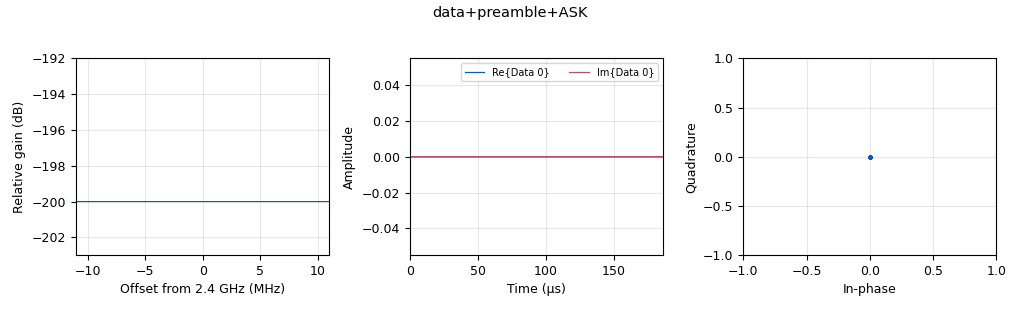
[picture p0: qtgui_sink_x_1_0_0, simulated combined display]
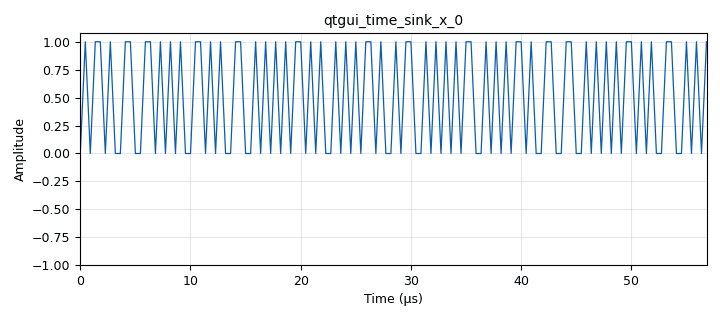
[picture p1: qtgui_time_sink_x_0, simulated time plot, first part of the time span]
options:
  parameters:
    author: User
    generate_options: qt_gui
    id: TX
    output_language: python
    title: Not titled yet
  states: {}

blocks:
- name: MC_data
  id: variable
  parameters:
    value: list(np.repeat(data,2))
  states: {}
- name: bandwidth
  id: variable
  parameters:
    value: '22000000'
  states: {}
- name: bits_per_clock
  id: variable
  parameters:
    value: '1'
  states: {}
- name: bits_per_pack
  id: variable
  parameters:
    value: '1'
  states: {}
- name: centerfreq
  id: variable
  parameters:
    value: '2400000000'
  states: {}
- name: clock
  id: variable
  parameters:
    value: '"010101"'
  states: {}
- name: data
  id: variable
  parameters:
    value: '[1,0,1,0]'
  states: {}
- name: decimation
  id: variable
  parameters:
    value: '1'
  states: {}
- name: filter_taps
  id: variable
  parameters:
    value: firdes.low_pass(1,samp_rate,samp_rate/(2*decimation), transition_bw)
  states: {}
- name: interval
  id: variable
  parameters:
    value: list(itertools.repeat(0, 20))
  states: {}
- name: packets
  id: variable
  parameters:
    value: '[1,0,1,0,1,1]'
  states: {}
- name: payload_size
  id: variable
  parameters:
    value: '160'
  states: {}
- name: periodicity
  id: variable
  parameters:
    value: len(MC_data)+len(preamble)
  states: {}
- name: preamble
  id: variable
  parameters:
    value: '[1,1,0,0,1,1]'
  states: {}
- name: samp_rate
  id: variable
  parameters:
    value: 22e5
  states: {}
- name: samp_rate_clock
  id: variable
  parameters:
    value: samp_rate*2
  states: {}
- name: sps
  id: variable_qtgui_range
  parameters:
    label: sample/symbol
    start: '1'
    step: '1'
    stop: '500'
    value: '100'
  states: {}
- name: symbol_rate
  id: variable
  parameters:
    value: '4000'
  states: {}
- name: tag_clock
  id: variable_tag_object
  parameters:
    key: pmt.intern("clock")
    offset: '0'
    src: pmt.intern("vecsrc")
    value: pmt.intern("0")
  states: {}
- name: tag_message
  id: variable_tag_object
  parameters:
    key: pmt.intern("t0")
    offset: '0'
    src: pmt.intern("vecsrc")
    value: pmt.intern("0")
  states: {}
- name: threshold
  id: variable_qtgui_range
  parameters:
    label: threshold
    start: '0.001'
    step: '0.001'
    stop: '1'
    value: '0.5'
  states: {}
- name: transition_bw
  id: variable
  parameters:
    value: '200'
  states: {}
- name: analog_sig_source_x_0_0
  id: analog_sig_source_x
  parameters:
    amp: '1'
    freq: samp_rate/500
    offset: '0'
    phase: '0'
    samp_rate: samp_rate
    type: complex
    waveform: analog.GR_COS_WAVE
  states: {}
- name: blocks_float_to_complex_0
  id: blocks_float_to_complex
  parameters: {}
  states: {}
- name: blocks_moving_average_xx_0
  id: blocks_moving_average_xx
  parameters:
    length: int(samp_rate/symbol_rate)
    max_iter: '4000'
    scale: '1'
    type: float
  states: {}
- name: blocks_multiply_xx_0
  id: blocks_multiply_xx
  parameters:
    type: complex
  states: {}
- name: blocks_throttle_0
  id: blocks_throttle
  parameters:
    samples_per_second: 2.2e6
    type: byte
  states: {}
- name: blocks_uchar_to_float_0_0_1_0
  id: blocks_uchar_to_float
  parameters: {}
  states: {}
- name: blocks_vector_insert_x_0
  id: blocks_vector_insert_x
  parameters:
    offset: '0'
    period: 320+len(preamble)
    type: byte
    vector: preamble
  states: {}
- name: blocks_vector_insert_x_0_0
  id: blocks_vector_insert_x
  parameters:
    offset: '0'
    period: 326+len(interval)
    type: byte
    vector: interval
  states: {}
- name: blocks_vector_source_x_0
  id: blocks_vector_source_x
  parameters:
    repeat: 'True'
    tags: '[tag_message]'
    type: byte
    vector: MC_data
  states: {state: disabled}
- name: blocks_vector_source_x_0_0_0
  id: blocks_vector_source_x
  parameters:
    repeat: 'True'
    tags: '[tag_clock]'
    type: byte
    vector: '[int(x) for x in clock]'
  states: {}
- name: blocks_vector_to_stream_0
  id: blocks_vector_to_stream
  parameters:
    num_items: '320'
    type: byte
  states: {}
- name: blocks_xor_xx_0
  id: blocks_xor_xx
  parameters:
    type: byte
  states: {}
- name: epy_block_0
  id: epy_block
  parameters:
    _source_code: |
      """
      Embedded Python Blocks:

      Each time this file is saved, GRC will instantiate the first class it finds
      to get ports and parameters of your block. The arguments to __init__  will
      be the parameters. All of them are required to have default values!
      """

      import numpy as np
      from gnuradio import gr
      import hashlib


      class blk(gr.sync_block):  # other base classes are basic_block, decim_block, interp_block
          """Embedded Python Block example - a simple multiply const"""

          def __init__(self, text="Enter the text here"):  # only default arguments here
              """arguments to this function show up as parameters in GRC"""
              gr.sync_block.__init__(
                  self,
                  name='Hash encode',   # will show up in GRC
                  in_sig=None,
                  out_sig=[(np.byte,320)]
              )
              # if an attribute with the same name as a parameter is found,
              # a callback is registered (properties work, too).
              self.text = text

          def work(self, input_items, output_items):
              """example: multiply with constant"""
              result = hashlib.sha1(self.text.encode())

              list_str = list(bin(int(result.hexdigest(), 16))[2:].zfill(160))

              byte_array = np.array(list_str, dtype=int).repeat(2)

              output_items[0][:] = byte_array

              return len(output_items[0])
    text: '"test message"'
  states: {}
- name: import_0_0
  id: import
  parameters:
    imports: import numpy as np
  states: {}
- name: import_0_0_0
  id: import
  parameters:
    imports: import math
  states: {}
- name: import_0_0_0_0
  id: import
  parameters:
    imports: from gnuradio import digital
  states: {}
- name: import_0_0_1
  id: import
  parameters:
    imports: import random
  states: {}
- name: import_0_1
  id: import
  parameters:
    imports: import numpy
  states: {}
- name: import_0_1_0
  id: import
  parameters:
    imports: import itertools
  states: {}
- name: import_0_1_0_0
  id: import
  parameters:
    imports: import itertools
  states: {}
- name: qtgui_sink_x_1_0_0
  id: qtgui_sink_x
  parameters:
    bw: bandwidth
    fc: centerfreq
    fftsize: '4096'
    name: '"data+preamble+ASK"'
    rate: '50'
    showrf: 'True'
    type: complex
  states: {}
- name: qtgui_time_sink_x_0
  id: qtgui_time_sink_x
  parameters:
    size: '1024'
    srate: samp_rate
    type: float
  states: {}
- name: qtgui_time_sink_x_0_0_0
  id: qtgui_time_sink_x
  parameters:
    autoscale: 'True'
    ctrlpanel: 'True'
    grid: 'True'
    name: '"data+preamble"'
    size: '4096'
    srate: samp_rate
    tr_mode: qtgui.TRIG_MODE_TAG
    tr_tag: '"t0"'
    type: float
  states: {state: disabled}
- name: qtgui_time_sink_x_3
  id: qtgui_time_sink_x
  parameters:
    autoscale: 'True'
    ctrlpanel: 'True'
    grid: 'True'
    name: '"data+preamble+ASK"'
    size: '4096'
    srate: samp_rate
    tr_mode: qtgui.TRIG_MODE_TAG
    tr_tag: '"t0"'
    type: complex
  states: {state: disabled}
- name: rational_resampler_xxx_0_0
  id: rational_resampler_xxx
  parameters:
    decim: '1'
    interp: int(samp_rate/symbol_rate)
    taps: '1'
    type: fff
  states: {}
- name: uhd_usrp_sink_0
  id: uhd_usrp_sink
  parameters:
    ant0: '"TX/RX"'
    bw0: bandwidth
    center_freq0: centerfreq
    clock_rate: 120e6
    clock_source0: external
    dev_addr: '"addr = 192.168.10.7"'
    gain0: '50'
    samp_rate: samp_rate
    sd_spec0: A:0
    stream_args: peak=0.003906
    sync: pc_clock
    time_source0: external
    type: fc32
  states: {}

connections:
- [analog_sig_source_x_0_0, '0', blocks_multiply_xx_0, '1']
- [blocks_float_to_complex_0, '0', blocks_multiply_xx_0, '0']
- [blocks_moving_average_xx_0, '0', blocks_float_to_complex_0, '0']
- [blocks_moving_average_xx_0, '0', qtgui_time_sink_x_0_0_0, '0']
- [blocks_multiply_xx_0, '0', qtgui_sink_x_1_0_0, '0']
- [blocks_multiply_xx_0, '0', qtgui_time_sink_x_3, '0']
- [blocks_multiply_xx_0, '0', uhd_usrp_sink_0, '0']
- [blocks_throttle_0, '0', blocks_uchar_to_float_0_0_1_0, '0']
- [blocks_uchar_to_float_0_0_1_0, '0', qtgui_time_sink_x_0, '0']
- [blocks_uchar_to_float_0_0_1_0, '0', rational_resampler_xxx_0_0, '0']
- [blocks_vector_insert_x_0, '0', blocks_vector_insert_x_0_0, '0']
- [blocks_vector_insert_x_0_0, '0', blocks_throttle_0, '0']
- [blocks_vector_source_x_0_0_0, '0', blocks_xor_xx_0, '1']
- [blocks_vector_to_stream_0, '0', blocks_xor_xx_0, '0']
- [blocks_xor_xx_0, '0', blocks_vector_insert_x_0, '0']
- [epy_block_0, '0', blocks_vector_to_stream_0, '0']
- [rational_resampler_xxx_0_0, '0', blocks_moving_average_xx_0, '0']

metadata:
  file_format: 1
  grc_version: 3.10.5.1
